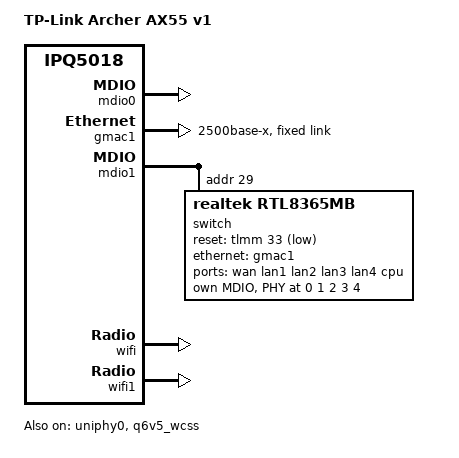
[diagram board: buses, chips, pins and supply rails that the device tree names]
// SPDX-License-Identifier: GPL-2.0-or-later OR MIT

/dts-v1/;

#include "ipq5018-archer-ax55-common.dtsi"
#include "ipq5018-ess.dtsi"
#include "ipq5018-qcn6122.dtsi"

/ {
	model = "TP-Link Archer AX55 v1";
	compatible = "tplink,archer-ax55-v1", "qcom,ipq5018";
};

/*
 * IPQ5018 gmac1 -> uniphy0 -> HSGMII -> RTL8367S port 6.
 * All five jacks are internal switch PHYs: WAN on 0, LAN1-4 on 1-4.
 * The SoC GE PHY is not bonded out, so gmac0 remains disabled.
 */

/*
 * Registering the unused GE PHY deasserts GCC_GEPHY_MISC_ARES, which
 * also gates the MDC/MDIO path shared with mdio1.
 */
&mdio0 {
	status = "okay";
};

&uniphy0 {
	status = "okay";

	assigned-clocks = <&uniphy0 UNIPHY_CLK_REF>;
	assigned-clock-rates = <UNIPHY_REFCLK_50MHZ>;
};

&gmac1 {
	status = "okay";

	phy-mode = "2500base-x";

	fixed-link {
		speed = <2500>;
		full-duplex;
	};
};

&mdio1 {
	status = "okay";

	pinctrl-0 = <&mdio1_pins>;
	pinctrl-names = "default";

	/*
	 * GPIO33, not the OEM-labelled GPIO39, resets the switch. Keep
	 * reset on the switch node so the driver applies its reset delays.
	 */
	switch@1d {
		compatible = "realtek,rtl8365mb";
		reg = <0x1d>;
		reset-gpios = <&tlmm 33 GPIO_ACTIVE_LOW>;

		mdio {
			compatible = "realtek,smi-mdio";
			#address-cells = <1>;
			#size-cells = <0>;

			switchphy0: ethernet-phy@0 {
				reg = <0>;
			};

			switchphy1: ethernet-phy@1 {
				reg = <1>;
			};

			switchphy2: ethernet-phy@2 {
				reg = <2>;
			};

			switchphy3: ethernet-phy@3 {
				reg = <3>;
			};

			switchphy4: ethernet-phy@4 {
				reg = <4>;
			};
		};

		ports {
			#address-cells = <1>;
			#size-cells = <0>;

			port@0 {
				reg = <0>;
				label = "wan";
				phy-handle = <&switchphy0>;
			};

			port@1 {
				reg = <1>;
				label = "lan1";
				phy-handle = <&switchphy1>;
			};

			port@2 {
				reg = <2>;
				label = "lan2";
				phy-handle = <&switchphy2>;
			};

			port@3 {
				reg = <3>;
				label = "lan3";
				phy-handle = <&switchphy3>;
			};

			port@4 {
				reg = <4>;
				label = "lan4";
				phy-handle = <&switchphy4>;
			};

			port@6 {
				reg = <6>;
				label = "cpu";
				ethernet = <&gmac1>;
				phy-mode = "2500base-x";

				fixed-link {
					speed = <2500>;
					full-duplex;
				};
			};
		};
	};
};

/*
 * The 5 GHz radio uses userpd 3 without boot-args, as on GL-B3000.
 * Per-device calibration is extracted from ART by 11-ath11k-caldata.
 */
&q6v5_wcss {
	status = "okay";
};

&wifi {
	status = "okay";

	qcom,rproc = <&q6_wcss_pd1>;
	qcom,ath11k-fw-memory-mode = <1>;
	qcom,calibration-variant = "TP-Link-Archer-AX55-v1";
	qcom,bdf-addr = <0x4c400000>;
};

&wifi1 {
	status = "okay";

	qcom,rproc = <&q6_wcss_pd3>;
	qcom,userpd-subsys-name = "q6v5_wcss_userpd3";
	qcom,ath11k-fw-memory-mode = <1>;
	qcom,calibration-variant = "TP-Link-Archer-AX55-v1";
	qcom,bdf-addr = <0x4d100000>;
	qcom,m3-dump-addr = <0x4df00000>;
};
